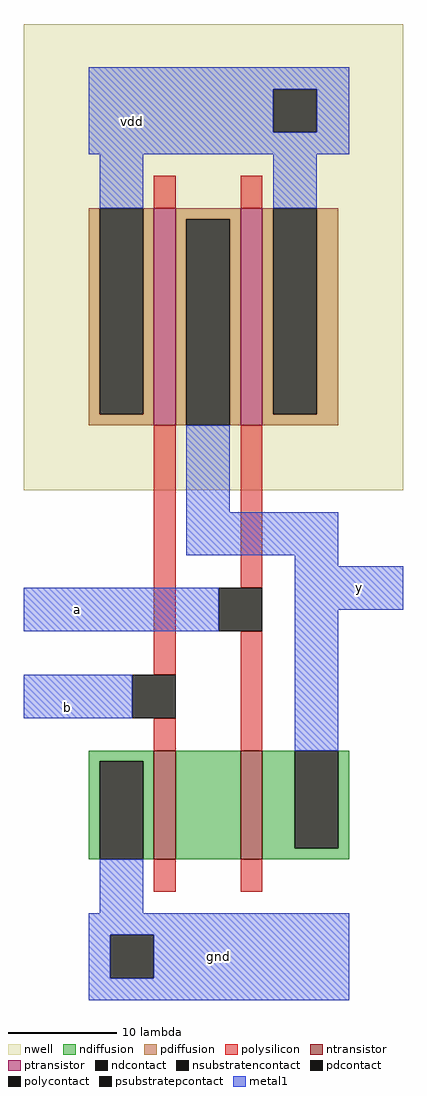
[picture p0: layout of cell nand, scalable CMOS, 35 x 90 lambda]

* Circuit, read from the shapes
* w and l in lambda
.subckt nand a b gnd vdd y
M1 n1 b gnd gnd nfet w=10 l=2
M2 y a n1 gnd nfet w=10 l=2
M3 y b vdd vdd pfet w=20 l=2
M4 vdd a y vdd pfet w=20 l=2
.ends

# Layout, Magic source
magic
tech scmos
<< nwell >>
rect 43 0 78 43
<< ntransistor >>
rect 55 -34 57 -24
rect 63 -34 65 -24
<< ptransistor >>
rect 55 6 57 26
rect 63 6 65 26
<< ndiffusion >>
rect 49 -25 55 -24
rect 49 -34 50 -25
rect 54 -34 55 -25
rect 57 -34 63 -24
rect 65 -33 68 -24
rect 72 -33 73 -24
rect 65 -34 73 -33
<< pdiffusion >>
rect 49 7 50 26
rect 54 7 55 26
rect 49 6 55 7
rect 57 25 63 26
rect 57 6 58 25
rect 62 6 63 25
rect 65 7 66 26
rect 70 7 72 26
rect 65 6 72 7
<< ndcontact >>
rect 50 -34 54 -25
rect 68 -33 72 -24
<< pdcontact >>
rect 50 7 54 26
rect 58 6 62 25
rect 66 7 70 26
<< psubstratepcontact >>
rect 51 -45 55 -41
<< nsubstratencontact >>
rect 66 33 70 37
<< polysilicon >>
rect 55 26 57 29
rect 63 26 65 29
rect 55 -17 57 6
rect 63 -9 65 6
rect 55 -24 57 -21
rect 63 -24 65 -13
rect 55 -37 57 -34
rect 63 -37 65 -34
<< polycontact >>
rect 61 -13 65 -9
rect 53 -21 57 -17
<< metal1 >>
rect 49 37 73 39
rect 49 33 66 37
rect 70 33 73 37
rect 49 31 73 33
rect 50 26 54 31
rect 66 26 70 31
rect 58 -2 62 6
rect 58 -6 72 -2
rect 68 -7 72 -6
rect 43 -13 61 -9
rect 68 -11 78 -7
rect 43 -21 53 -17
rect 68 -24 72 -11
rect 50 -39 54 -34
rect 49 -41 73 -39
rect 49 -45 51 -41
rect 55 -45 73 -41
rect 49 -47 73 -45
<< labels >>
rlabel metal1 53 34 53 34 1 vdd
rlabel metal1 61 -43 61 -43 1 gnd
rlabel metal1 48 -11 48 -11 3 a
rlabel metal1 47 -20 47 -20 3 b
rlabel metal1 74 -9 74 -9 7 y
<< end >>
